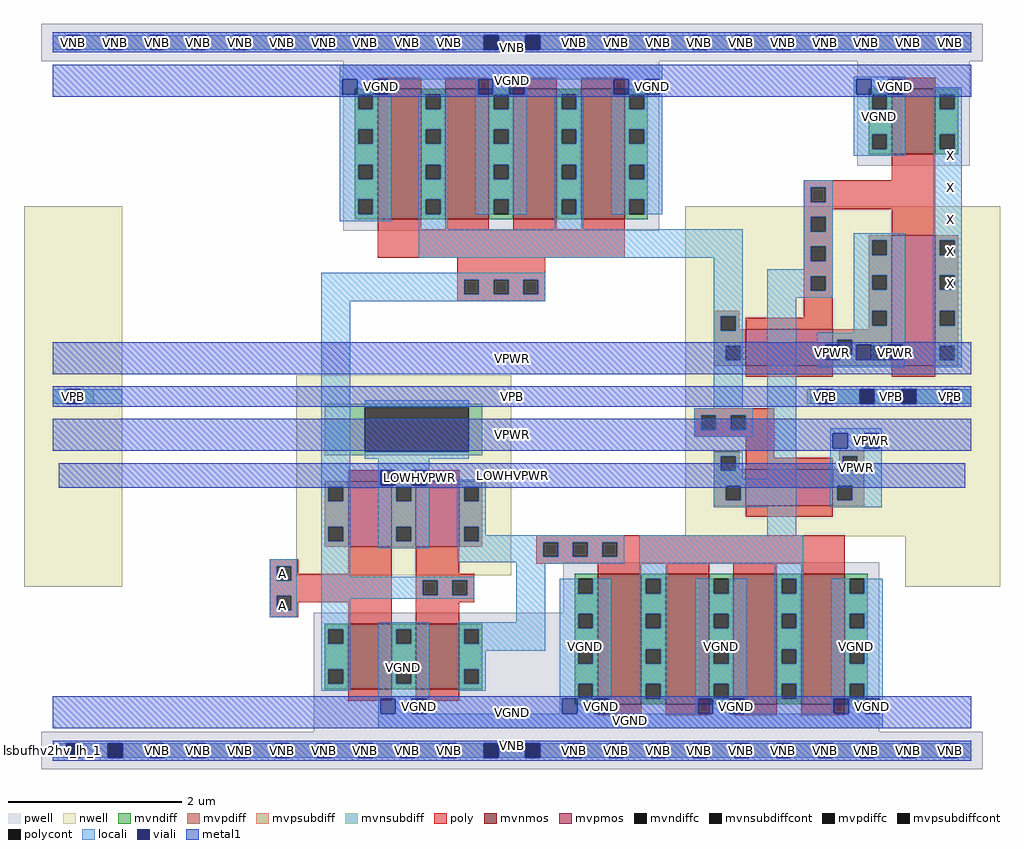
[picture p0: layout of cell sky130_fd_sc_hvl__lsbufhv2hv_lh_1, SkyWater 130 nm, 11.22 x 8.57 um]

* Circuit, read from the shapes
.subckt sky130_fd_sc_hvl__lsbufhv2hv_lh_1 A LOWHVPWR VGND VNB VPB VPWR X
XM1 VGND A n1 VNB sky130_fd_pr__nfet_g5v0d10v5 w=0.75 l=0.5
XM2 n2 n1 VGND VNB sky130_fd_pr__nfet_g5v0d10v5 w=1.5 l=0.5 m=4
XM3 n3 n1 VGND VNB sky130_fd_pr__nfet_g5v0d10v5 w=0.75 l=0.5
XM4 n4 n3 VGND VNB sky130_fd_pr__nfet_g5v0d10v5 w=1.5 l=0.5 m=4
XM5 X n4 VGND VNB sky130_fd_pr__nfet_g5v0d10v5 w=0.75 l=0.5
XM6 LOWHVPWR A n1 LOWHVPWR sky130_fd_pr__pfet_g5v0d10v5 w=0.75 l=0.5
XM7 n3 n1 LOWHVPWR LOWHVPWR sky130_fd_pr__pfet_g5v0d10v5 w=0.75 l=0.5
XM8 VPWR n2 n4 VPB sky130_fd_pr__pfet_g5v0d10v5 w=0.42 l=1
XM9 VPWR n4 n2 VPB sky130_fd_pr__pfet_g5v0d10v5 w=0.42 l=1
XM10 X n4 VPWR VPB sky130_fd_pr__pfet_g5v0d10v5 w=1.5 l=0.5
.ends

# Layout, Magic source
magic
tech sky130B
magscale 1 2
<< nwell >>
rect -66 377 160 1251
rect 560 403 1054 863
rect 1454 493 2178 1251
rect 1960 377 2178 493
<< pwell >>
rect -26 1585 2138 1671
rect 668 1195 1394 1585
rect 1850 1345 2108 1585
rect 1174 317 1900 433
rect 600 43 1900 317
rect -26 -43 2138 43
<< mvnmos >>
rect 747 1221 847 1521
rect 903 1221 1003 1521
rect 1059 1221 1159 1521
rect 1215 1221 1315 1521
rect 1929 1371 2029 1521
rect 679 141 779 291
rect 835 141 935 291
rect 1253 107 1353 407
rect 1409 107 1509 407
rect 1565 107 1665 407
rect 1721 107 1821 407
<< mvpmos >>
rect 1593 885 1793 969
rect 1929 885 2029 1185
rect 679 469 779 619
rect 835 469 935 619
rect 1593 563 1793 647
<< mvndiff >>
rect 694 1509 747 1521
rect 694 1475 702 1509
rect 736 1475 747 1509
rect 694 1429 747 1475
rect 694 1395 702 1429
rect 736 1395 747 1429
rect 694 1347 747 1395
rect 694 1313 702 1347
rect 736 1313 747 1347
rect 694 1267 747 1313
rect 694 1233 702 1267
rect 736 1233 747 1267
rect 694 1221 747 1233
rect 847 1509 903 1521
rect 847 1475 858 1509
rect 892 1475 903 1509
rect 847 1429 903 1475
rect 847 1395 858 1429
rect 892 1395 903 1429
rect 847 1347 903 1395
rect 847 1313 858 1347
rect 892 1313 903 1347
rect 847 1267 903 1313
rect 847 1233 858 1267
rect 892 1233 903 1267
rect 847 1221 903 1233
rect 1003 1509 1059 1521
rect 1003 1475 1014 1509
rect 1048 1475 1059 1509
rect 1003 1429 1059 1475
rect 1003 1395 1014 1429
rect 1048 1395 1059 1429
rect 1003 1347 1059 1395
rect 1003 1313 1014 1347
rect 1048 1313 1059 1347
rect 1003 1267 1059 1313
rect 1003 1233 1014 1267
rect 1048 1233 1059 1267
rect 1003 1221 1059 1233
rect 1159 1509 1215 1521
rect 1159 1475 1170 1509
rect 1204 1475 1215 1509
rect 1159 1429 1215 1475
rect 1159 1395 1170 1429
rect 1204 1395 1215 1429
rect 1159 1347 1215 1395
rect 1159 1313 1170 1347
rect 1204 1313 1215 1347
rect 1159 1267 1215 1313
rect 1159 1233 1170 1267
rect 1204 1233 1215 1267
rect 1159 1221 1215 1233
rect 1315 1509 1368 1521
rect 1315 1475 1326 1509
rect 1360 1475 1368 1509
rect 1315 1429 1368 1475
rect 1315 1395 1326 1429
rect 1360 1395 1368 1429
rect 1315 1347 1368 1395
rect 1876 1509 1929 1521
rect 1876 1475 1884 1509
rect 1918 1475 1929 1509
rect 1876 1417 1929 1475
rect 1876 1383 1884 1417
rect 1918 1383 1929 1417
rect 1876 1371 1929 1383
rect 2029 1509 2082 1521
rect 2029 1475 2040 1509
rect 2074 1475 2082 1509
rect 2029 1417 2082 1475
rect 2029 1383 2040 1417
rect 2074 1383 2082 1417
rect 2029 1371 2082 1383
rect 1315 1313 1326 1347
rect 1360 1313 1368 1347
rect 1315 1267 1368 1313
rect 1315 1233 1326 1267
rect 1360 1233 1368 1267
rect 1315 1221 1368 1233
rect 1200 395 1253 407
rect 1200 361 1208 395
rect 1242 361 1253 395
rect 1200 315 1253 361
rect 626 279 679 291
rect 626 245 634 279
rect 668 245 679 279
rect 626 187 679 245
rect 626 153 634 187
rect 668 153 679 187
rect 626 141 679 153
rect 779 279 835 291
rect 779 245 790 279
rect 824 245 835 279
rect 779 187 835 245
rect 779 153 790 187
rect 824 153 835 187
rect 779 141 835 153
rect 935 279 988 291
rect 935 245 946 279
rect 980 245 988 279
rect 935 187 988 245
rect 935 153 946 187
rect 980 153 988 187
rect 935 141 988 153
rect 1200 281 1208 315
rect 1242 281 1253 315
rect 1200 233 1253 281
rect 1200 199 1208 233
rect 1242 199 1253 233
rect 1200 153 1253 199
rect 1200 119 1208 153
rect 1242 119 1253 153
rect 1200 107 1253 119
rect 1353 395 1409 407
rect 1353 361 1364 395
rect 1398 361 1409 395
rect 1353 315 1409 361
rect 1353 281 1364 315
rect 1398 281 1409 315
rect 1353 233 1409 281
rect 1353 199 1364 233
rect 1398 199 1409 233
rect 1353 153 1409 199
rect 1353 119 1364 153
rect 1398 119 1409 153
rect 1353 107 1409 119
rect 1509 395 1565 407
rect 1509 361 1520 395
rect 1554 361 1565 395
rect 1509 315 1565 361
rect 1509 281 1520 315
rect 1554 281 1565 315
rect 1509 233 1565 281
rect 1509 199 1520 233
rect 1554 199 1565 233
rect 1509 153 1565 199
rect 1509 119 1520 153
rect 1554 119 1565 153
rect 1509 107 1565 119
rect 1665 395 1721 407
rect 1665 361 1676 395
rect 1710 361 1721 395
rect 1665 315 1721 361
rect 1665 281 1676 315
rect 1710 281 1721 315
rect 1665 233 1721 281
rect 1665 199 1676 233
rect 1710 199 1721 233
rect 1665 153 1721 199
rect 1665 119 1676 153
rect 1710 119 1721 153
rect 1665 107 1721 119
rect 1821 395 1874 407
rect 1821 361 1832 395
rect 1866 361 1874 395
rect 1821 315 1874 361
rect 1821 281 1832 315
rect 1866 281 1874 315
rect 1821 233 1874 281
rect 1821 199 1832 233
rect 1866 199 1874 233
rect 1821 153 1874 199
rect 1821 119 1832 153
rect 1866 119 1874 153
rect 1821 107 1874 119
<< mvpdiff >>
rect 1520 999 1578 1011
rect 1520 965 1536 999
rect 1570 969 1578 999
rect 1876 1173 1929 1185
rect 1876 1139 1884 1173
rect 1918 1139 1929 1173
rect 1876 1093 1929 1139
rect 1876 1059 1884 1093
rect 1918 1059 1929 1093
rect 1876 1011 1929 1059
rect 1876 977 1884 1011
rect 1918 977 1929 1011
rect 1876 969 1929 977
rect 1570 965 1593 969
rect 1520 931 1593 965
rect 1520 897 1548 931
rect 1582 897 1593 931
rect 1520 885 1593 897
rect 1793 944 1929 969
rect 1793 910 1804 944
rect 1838 931 1929 944
rect 1838 910 1884 931
rect 1793 897 1884 910
rect 1918 897 1929 931
rect 1793 885 1929 897
rect 2029 1173 2082 1185
rect 2029 1139 2040 1173
rect 2074 1139 2082 1173
rect 2029 1093 2082 1139
rect 2029 1059 2040 1093
rect 2074 1059 2082 1093
rect 2029 1011 2082 1059
rect 2029 977 2040 1011
rect 2074 977 2082 1011
rect 2029 931 2082 977
rect 2029 897 2040 931
rect 2074 897 2082 931
rect 2029 885 2082 897
rect 1520 677 1578 689
rect 1520 643 1536 677
rect 1570 647 1578 677
rect 1808 677 1866 689
rect 1808 647 1816 677
rect 1570 643 1593 647
rect 626 607 679 619
rect 626 573 634 607
rect 668 573 679 607
rect 626 515 679 573
rect 626 481 634 515
rect 668 481 679 515
rect 626 469 679 481
rect 779 607 835 619
rect 779 573 790 607
rect 824 573 835 607
rect 779 515 835 573
rect 779 481 790 515
rect 824 481 835 515
rect 779 469 835 481
rect 935 607 988 619
rect 935 573 946 607
rect 980 573 988 607
rect 935 515 988 573
rect 1520 609 1593 643
rect 1520 575 1548 609
rect 1582 575 1593 609
rect 1520 563 1593 575
rect 1793 643 1816 647
rect 1850 643 1866 677
rect 1793 609 1866 643
rect 1793 575 1804 609
rect 1838 575 1866 609
rect 1793 563 1866 575
rect 935 481 946 515
rect 980 481 988 515
rect 935 469 988 481
<< mvndiffc >>
rect 702 1475 736 1509
rect 702 1395 736 1429
rect 702 1313 736 1347
rect 702 1233 736 1267
rect 858 1475 892 1509
rect 858 1395 892 1429
rect 858 1313 892 1347
rect 858 1233 892 1267
rect 1014 1475 1048 1509
rect 1014 1395 1048 1429
rect 1014 1313 1048 1347
rect 1014 1233 1048 1267
rect 1170 1475 1204 1509
rect 1170 1395 1204 1429
rect 1170 1313 1204 1347
rect 1170 1233 1204 1267
rect 1326 1475 1360 1509
rect 1326 1395 1360 1429
rect 1884 1475 1918 1509
rect 1884 1383 1918 1417
rect 2040 1475 2074 1509
rect 2040 1383 2074 1417
rect 1326 1313 1360 1347
rect 1326 1233 1360 1267
rect 1208 361 1242 395
rect 634 245 668 279
rect 634 153 668 187
rect 790 245 824 279
rect 790 153 824 187
rect 946 245 980 279
rect 946 153 980 187
rect 1208 281 1242 315
rect 1208 199 1242 233
rect 1208 119 1242 153
rect 1364 361 1398 395
rect 1364 281 1398 315
rect 1364 199 1398 233
rect 1364 119 1398 153
rect 1520 361 1554 395
rect 1520 281 1554 315
rect 1520 199 1554 233
rect 1520 119 1554 153
rect 1676 361 1710 395
rect 1676 281 1710 315
rect 1676 199 1710 233
rect 1676 119 1710 153
rect 1832 361 1866 395
rect 1832 281 1866 315
rect 1832 199 1866 233
rect 1832 119 1866 153
<< mvpdiffc >>
rect 1536 965 1570 999
rect 1884 1139 1918 1173
rect 1884 1059 1918 1093
rect 1884 977 1918 1011
rect 1548 897 1582 931
rect 1804 910 1838 944
rect 1884 897 1918 931
rect 2040 1139 2074 1173
rect 2040 1059 2074 1093
rect 2040 977 2074 1011
rect 2040 897 2074 931
rect 1536 643 1570 677
rect 634 573 668 607
rect 634 481 668 515
rect 790 573 824 607
rect 790 481 824 515
rect 946 573 980 607
rect 1548 575 1582 609
rect 1816 643 1850 677
rect 1804 575 1838 609
rect 946 481 980 515
<< mvpsubdiff >>
rect 0 1611 31 1645
rect 65 1611 127 1645
rect 161 1611 223 1645
rect 257 1611 319 1645
rect 353 1611 415 1645
rect 449 1611 511 1645
rect 545 1611 607 1645
rect 641 1611 703 1645
rect 737 1611 799 1645
rect 833 1611 895 1645
rect 929 1611 991 1645
rect 1025 1611 1087 1645
rect 1121 1611 1183 1645
rect 1217 1611 1279 1645
rect 1313 1611 1375 1645
rect 1409 1611 1471 1645
rect 1505 1611 1567 1645
rect 1601 1611 1663 1645
rect 1697 1611 1759 1645
rect 1793 1611 1855 1645
rect 1889 1611 1951 1645
rect 1985 1611 2047 1645
rect 2081 1611 2112 1645
rect 0 -17 31 17
rect 65 -17 127 17
rect 161 -17 223 17
rect 257 -17 319 17
rect 353 -17 415 17
rect 449 -17 511 17
rect 545 -17 607 17
rect 641 -17 703 17
rect 737 -17 799 17
rect 833 -17 895 17
rect 929 -17 991 17
rect 1025 -17 1087 17
rect 1121 -17 1183 17
rect 1217 -17 1279 17
rect 1313 -17 1375 17
rect 1409 -17 1471 17
rect 1505 -17 1567 17
rect 1601 -17 1663 17
rect 1697 -17 1759 17
rect 1793 -17 1855 17
rect 1889 -17 1951 17
rect 1985 -17 2047 17
rect 2081 -17 2112 17
<< mvnsubdiff >>
rect 0 797 31 831
rect 65 797 94 831
rect 1735 797 1759 831
rect 1793 797 1855 831
rect 1889 797 1951 831
rect 1985 797 2047 831
rect 2081 797 2112 831
rect 626 789 988 797
rect 626 687 718 789
rect 956 687 988 789
rect 626 679 988 687
<< mvpsubdiffcont >>
rect 31 1611 65 1645
rect 127 1611 161 1645
rect 223 1611 257 1645
rect 319 1611 353 1645
rect 415 1611 449 1645
rect 511 1611 545 1645
rect 607 1611 641 1645
rect 703 1611 737 1645
rect 799 1611 833 1645
rect 895 1611 929 1645
rect 991 1611 1025 1645
rect 1087 1611 1121 1645
rect 1183 1611 1217 1645
rect 1279 1611 1313 1645
rect 1375 1611 1409 1645
rect 1471 1611 1505 1645
rect 1567 1611 1601 1645
rect 1663 1611 1697 1645
rect 1759 1611 1793 1645
rect 1855 1611 1889 1645
rect 1951 1611 1985 1645
rect 2047 1611 2081 1645
rect 31 -17 65 17
rect 127 -17 161 17
rect 223 -17 257 17
rect 319 -17 353 17
rect 415 -17 449 17
rect 511 -17 545 17
rect 607 -17 641 17
rect 703 -17 737 17
rect 799 -17 833 17
rect 895 -17 929 17
rect 991 -17 1025 17
rect 1087 -17 1121 17
rect 1183 -17 1217 17
rect 1279 -17 1313 17
rect 1375 -17 1409 17
rect 1471 -17 1505 17
rect 1567 -17 1601 17
rect 1663 -17 1697 17
rect 1759 -17 1793 17
rect 1855 -17 1889 17
rect 1951 -17 1985 17
rect 2047 -17 2081 17
<< mvnsubdiffcont >>
rect 31 797 65 831
rect 1759 797 1793 831
rect 1855 797 1889 831
rect 1951 797 1985 831
rect 2047 797 2081 831
rect 718 687 956 789
<< poly >>
rect 747 1521 847 1547
rect 903 1521 1003 1547
rect 1059 1521 1159 1547
rect 1215 1521 1315 1547
rect 1929 1521 2029 1547
rect 1929 1311 2029 1371
rect 1727 1295 2029 1311
rect 1727 1261 1743 1295
rect 1777 1261 2029 1295
rect 1727 1245 2029 1261
rect 1727 1227 1793 1245
rect 747 1199 847 1221
rect 903 1199 1003 1221
rect 1059 1199 1159 1221
rect 1215 1199 1315 1221
rect 747 1133 1315 1199
rect 1727 1193 1743 1227
rect 1777 1193 1793 1227
rect 1727 1159 1793 1193
rect 1929 1185 2029 1245
rect 930 1083 1132 1133
rect 930 1049 946 1083
rect 980 1049 1014 1083
rect 1048 1049 1082 1083
rect 1116 1049 1132 1083
rect 930 1033 1132 1049
rect 1727 1125 1743 1159
rect 1777 1125 1793 1159
rect 1727 1091 1793 1125
rect 1727 1057 1743 1091
rect 1777 1057 1793 1091
rect 1727 995 1793 1057
rect 1593 969 1793 995
rect 1593 859 1793 885
rect 1929 859 2029 885
rect 1475 771 1659 787
rect 1475 737 1491 771
rect 1525 737 1559 771
rect 1593 737 1659 771
rect 1475 721 1659 737
rect 679 619 779 645
rect 835 619 935 645
rect 1593 673 1659 721
rect 1593 647 1793 673
rect 1593 537 1793 563
rect 1112 479 1821 495
rect 499 424 565 440
rect 499 390 515 424
rect 549 407 565 424
rect 679 407 779 469
rect 549 390 779 407
rect 499 356 779 390
rect 499 322 515 356
rect 549 341 779 356
rect 549 322 565 341
rect 499 306 565 322
rect 679 291 779 341
rect 835 407 935 469
rect 1112 445 1128 479
rect 1162 445 1196 479
rect 1230 445 1264 479
rect 1298 445 1821 479
rect 1112 429 1821 445
rect 1253 407 1353 429
rect 1409 407 1509 429
rect 1565 407 1665 429
rect 1721 407 1821 429
rect 835 391 969 407
rect 835 357 851 391
rect 885 357 919 391
rect 953 357 969 391
rect 835 341 969 357
rect 835 291 935 341
rect 679 115 779 141
rect 835 115 935 141
rect 1253 81 1353 107
rect 1409 81 1509 107
rect 1565 81 1665 107
rect 1721 81 1821 107
<< polycont >>
rect 1743 1261 1777 1295
rect 1743 1193 1777 1227
rect 946 1049 980 1083
rect 1014 1049 1048 1083
rect 1082 1049 1116 1083
rect 1743 1125 1777 1159
rect 1743 1057 1777 1091
rect 1491 737 1525 771
rect 1559 737 1593 771
rect 515 390 549 424
rect 515 322 549 356
rect 1128 445 1162 479
rect 1196 445 1230 479
rect 1264 445 1298 479
rect 851 357 885 391
rect 919 357 953 391
<< locali >>
rect 0 1611 31 1645
rect 65 1611 127 1645
rect 161 1611 223 1645
rect 257 1611 319 1645
rect 353 1611 415 1645
rect 449 1611 511 1645
rect 545 1611 607 1645
rect 641 1611 703 1645
rect 737 1611 799 1645
rect 833 1611 895 1645
rect 929 1611 991 1645
rect 1025 1611 1087 1645
rect 1121 1611 1183 1645
rect 1217 1611 1279 1645
rect 1313 1611 1375 1645
rect 1409 1611 1471 1645
rect 1505 1611 1567 1645
rect 1601 1611 1663 1645
rect 1697 1611 1759 1645
rect 1793 1611 1855 1645
rect 1889 1611 1951 1645
rect 1985 1611 2047 1645
rect 2081 1611 2112 1645
rect 660 1543 1402 1577
rect 660 1509 666 1543
rect 700 1509 738 1543
rect 772 1509 778 1543
rect 972 1509 978 1543
rect 1012 1509 1050 1543
rect 1084 1509 1090 1543
rect 1284 1509 1290 1543
rect 1324 1509 1362 1543
rect 1396 1509 1402 1543
rect 660 1475 702 1509
rect 736 1475 778 1509
rect 660 1429 778 1475
rect 660 1395 702 1429
rect 736 1395 778 1429
rect 660 1347 778 1395
rect 660 1313 702 1347
rect 736 1313 778 1347
rect 660 1267 778 1313
rect 660 1233 702 1267
rect 736 1233 778 1267
rect 660 1217 778 1233
rect 842 1475 858 1509
rect 892 1475 908 1509
rect 842 1429 908 1475
rect 842 1395 858 1429
rect 892 1395 908 1429
rect 842 1347 908 1395
rect 842 1313 858 1347
rect 892 1313 908 1347
rect 842 1267 908 1313
rect 842 1233 858 1267
rect 892 1233 908 1267
rect 972 1475 1014 1509
rect 1048 1475 1090 1509
rect 972 1429 1090 1475
rect 972 1395 1014 1429
rect 1048 1395 1090 1429
rect 972 1347 1090 1395
rect 972 1313 1014 1347
rect 1048 1313 1090 1347
rect 972 1267 1090 1313
rect 972 1233 1014 1267
rect 1048 1233 1090 1267
rect 1154 1475 1170 1509
rect 1204 1475 1220 1509
rect 1154 1429 1220 1475
rect 1154 1395 1170 1429
rect 1204 1395 1220 1429
rect 1154 1347 1220 1395
rect 1154 1313 1170 1347
rect 1204 1313 1220 1347
rect 1154 1267 1220 1313
rect 1154 1233 1170 1267
rect 1204 1233 1220 1267
rect 1284 1475 1326 1509
rect 1360 1475 1402 1509
rect 1284 1429 1402 1475
rect 1284 1395 1326 1429
rect 1360 1395 1402 1429
rect 1284 1347 1402 1395
rect 1842 1543 1960 1549
rect 1842 1509 1848 1543
rect 1882 1509 1920 1543
rect 1954 1509 1960 1543
rect 1842 1475 1884 1509
rect 1918 1475 1960 1509
rect 1842 1417 1960 1475
rect 1842 1383 1884 1417
rect 1918 1383 1960 1417
rect 1842 1367 1960 1383
rect 2024 1509 2090 1525
rect 2024 1475 2040 1509
rect 2074 1475 2090 1509
rect 2024 1417 2090 1475
rect 2024 1383 2040 1417
rect 2074 1383 2090 1417
rect 1284 1313 1326 1347
rect 1360 1313 1402 1347
rect 1284 1267 1402 1313
rect 1284 1233 1326 1267
rect 1360 1233 1402 1267
rect 1727 1295 1793 1311
rect 1727 1261 1743 1295
rect 1777 1261 1793 1295
rect 842 1199 908 1233
rect 1154 1199 1220 1233
rect 1727 1227 1793 1261
rect 842 1133 1586 1199
rect 618 1083 1132 1099
rect 618 1049 946 1083
rect 980 1049 1014 1083
rect 1048 1049 1082 1083
rect 1116 1049 1132 1083
rect 618 1033 1132 1049
rect 0 797 31 831
rect 65 797 160 831
rect 618 607 684 1033
rect 1520 999 1586 1133
rect 1727 1193 1743 1227
rect 1777 1193 1793 1227
rect 1727 1159 1793 1193
rect 1727 1125 1743 1159
rect 1777 1125 1793 1159
rect 1727 1107 1793 1125
rect 1520 965 1536 999
rect 1570 965 1586 999
rect 1520 931 1586 965
rect 1520 897 1548 931
rect 1582 897 1586 931
rect 718 789 956 805
rect 1520 787 1586 897
rect 1643 1091 1793 1107
rect 1643 1057 1743 1091
rect 1777 1057 1793 1091
rect 1643 1041 1793 1057
rect 1842 1173 1960 1189
rect 1842 1139 1884 1173
rect 1918 1139 1960 1173
rect 1842 1093 1960 1139
rect 1842 1059 1884 1093
rect 1918 1059 1960 1093
rect 1475 771 1609 787
rect 1475 737 1491 771
rect 1525 737 1559 771
rect 1593 737 1609 771
rect 1475 721 1609 737
rect 718 671 956 687
rect 1520 677 1586 687
rect 618 573 634 607
rect 668 573 684 607
rect 618 515 684 573
rect 618 481 634 515
rect 668 481 684 515
rect 499 424 561 440
rect 499 390 515 424
rect 549 390 561 424
rect 499 356 561 390
rect 499 322 515 356
rect 549 322 561 356
rect 499 306 561 322
rect 618 399 684 481
rect 748 644 866 671
rect 748 610 754 644
rect 788 610 826 644
rect 860 610 866 644
rect 1520 643 1536 677
rect 1570 643 1586 677
rect 1520 625 1586 643
rect 1643 625 1709 1041
rect 1842 1011 1960 1059
rect 1842 977 1884 1011
rect 1918 977 1960 1011
rect 1842 960 1960 977
rect 1758 944 1960 960
rect 1758 933 1804 944
rect 1838 933 1960 944
rect 1758 899 1776 933
rect 1838 910 1848 933
rect 1810 899 1848 910
rect 1882 931 1920 933
rect 1882 899 1884 931
rect 1758 897 1884 899
rect 1918 899 1920 931
rect 1954 899 1960 933
rect 1918 897 1960 899
rect 1758 881 1960 897
rect 2024 1173 2090 1383
rect 2024 1139 2040 1173
rect 2074 1139 2090 1173
rect 2024 1093 2090 1139
rect 2024 1059 2040 1093
rect 2074 1059 2090 1093
rect 2024 1011 2090 1059
rect 2024 977 2040 1011
rect 2074 977 2090 1011
rect 2024 931 2090 977
rect 2024 897 2040 931
rect 2074 897 2090 931
rect 2024 881 2090 897
rect 1743 797 1759 831
rect 1793 797 1855 831
rect 1889 797 1951 831
rect 1985 797 2047 831
rect 2081 797 2112 831
rect 748 607 866 610
rect 748 573 790 607
rect 824 573 866 607
rect 748 515 866 573
rect 748 481 790 515
rect 824 481 866 515
rect 748 465 866 481
rect 930 607 996 623
rect 930 573 946 607
rect 980 573 996 607
rect 930 515 996 573
rect 1520 609 1709 625
rect 1520 575 1548 609
rect 1582 575 1709 609
rect 1520 559 1709 575
rect 1788 729 1906 741
rect 1788 695 1794 729
rect 1828 695 1866 729
rect 1900 695 1906 729
rect 1788 677 1906 695
rect 1788 643 1816 677
rect 1850 643 1906 677
rect 1788 609 1906 643
rect 1788 575 1804 609
rect 1838 575 1906 609
rect 1788 559 1906 575
rect 930 481 946 515
rect 980 495 996 515
rect 1643 495 1709 559
rect 980 481 1314 495
rect 930 479 1314 481
rect 930 445 1128 479
rect 1162 445 1196 479
rect 1230 445 1264 479
rect 1298 445 1314 479
rect 930 433 1314 445
rect 1066 429 1314 433
rect 1348 429 1726 495
rect 618 391 969 399
rect 618 357 851 391
rect 885 357 919 391
rect 953 357 969 391
rect 618 349 969 357
rect 618 279 684 349
rect 1066 295 1132 429
rect 1348 395 1414 429
rect 1660 395 1726 429
rect 618 245 634 279
rect 668 245 684 279
rect 618 187 684 245
rect 618 153 634 187
rect 668 153 684 187
rect 618 137 684 153
rect 748 279 866 295
rect 748 245 790 279
rect 824 245 866 279
rect 748 187 866 245
rect 748 153 790 187
rect 824 153 866 187
rect 748 119 866 153
rect 930 279 1132 295
rect 930 245 946 279
rect 980 245 1132 279
rect 930 229 1132 245
rect 1166 361 1208 395
rect 1242 361 1284 395
rect 1166 315 1284 361
rect 1166 281 1208 315
rect 1242 281 1284 315
rect 1166 233 1284 281
rect 930 187 996 229
rect 930 153 946 187
rect 980 153 996 187
rect 930 137 996 153
rect 1166 199 1208 233
rect 1242 199 1284 233
rect 1166 153 1284 199
rect 748 85 754 119
rect 788 85 826 119
rect 860 85 866 119
rect 1166 119 1208 153
rect 1242 119 1284 153
rect 1348 361 1364 395
rect 1398 361 1414 395
rect 1348 315 1414 361
rect 1348 281 1364 315
rect 1398 281 1414 315
rect 1348 233 1414 281
rect 1348 199 1364 233
rect 1398 199 1414 233
rect 1348 153 1414 199
rect 1348 119 1364 153
rect 1398 119 1414 153
rect 1478 361 1520 395
rect 1554 361 1596 395
rect 1478 315 1596 361
rect 1478 281 1520 315
rect 1554 281 1596 315
rect 1478 233 1596 281
rect 1478 199 1520 233
rect 1554 199 1596 233
rect 1478 153 1596 199
rect 1478 119 1520 153
rect 1554 119 1596 153
rect 1660 361 1676 395
rect 1710 361 1726 395
rect 1660 315 1726 361
rect 1660 281 1676 315
rect 1710 281 1726 315
rect 1660 233 1726 281
rect 1660 199 1676 233
rect 1710 199 1726 233
rect 1660 153 1726 199
rect 1660 119 1676 153
rect 1710 119 1726 153
rect 1790 361 1832 395
rect 1866 361 1908 395
rect 1790 315 1908 361
rect 1790 281 1832 315
rect 1866 281 1908 315
rect 1790 233 1908 281
rect 1790 199 1832 233
rect 1866 199 1908 233
rect 1790 153 1908 199
rect 1790 119 1832 153
rect 1866 119 1908 153
rect 1166 85 1172 119
rect 1206 85 1244 119
rect 1278 85 1284 119
rect 1478 85 1484 119
rect 1518 85 1556 119
rect 1590 85 1596 119
rect 1790 85 1796 119
rect 1830 85 1868 119
rect 1902 85 1908 119
rect 748 51 1908 85
rect 0 -17 31 17
rect 65 -17 127 17
rect 161 -17 223 17
rect 257 -17 319 17
rect 353 -17 415 17
rect 449 -17 511 17
rect 545 -17 607 17
rect 641 -17 703 17
rect 737 -17 799 17
rect 833 -17 895 17
rect 929 -17 991 17
rect 1025 -17 1087 17
rect 1121 -17 1183 17
rect 1217 -17 1279 17
rect 1313 -17 1375 17
rect 1409 -17 1471 17
rect 1505 -17 1567 17
rect 1601 -17 1663 17
rect 1697 -17 1759 17
rect 1793 -17 1855 17
rect 1889 -17 1951 17
rect 1985 -17 2047 17
rect 2081 -17 2112 17
<< viali >>
rect 31 1611 65 1645
rect 127 1611 161 1645
rect 223 1611 257 1645
rect 319 1611 353 1645
rect 415 1611 449 1645
rect 511 1611 545 1645
rect 607 1611 641 1645
rect 703 1611 737 1645
rect 799 1611 833 1645
rect 895 1611 929 1645
rect 991 1611 1025 1645
rect 1087 1611 1121 1645
rect 1183 1611 1217 1645
rect 1279 1611 1313 1645
rect 1375 1611 1409 1645
rect 1471 1611 1505 1645
rect 1567 1611 1601 1645
rect 1663 1611 1697 1645
rect 1759 1611 1793 1645
rect 1855 1611 1889 1645
rect 1951 1611 1985 1645
rect 2047 1611 2081 1645
rect 666 1509 700 1543
rect 738 1509 772 1543
rect 978 1509 1012 1543
rect 1050 1509 1084 1543
rect 1290 1509 1324 1543
rect 1362 1509 1396 1543
rect 1848 1509 1882 1543
rect 1920 1509 1954 1543
rect 31 797 65 831
rect 754 610 788 644
rect 826 610 860 644
rect 1776 910 1804 933
rect 1804 910 1810 933
rect 1776 899 1810 910
rect 1848 899 1882 933
rect 1920 899 1954 933
rect 1759 797 1793 831
rect 1855 797 1889 831
rect 1951 797 1985 831
rect 2047 797 2081 831
rect 1794 695 1828 729
rect 1866 695 1900 729
rect 754 85 788 119
rect 826 85 860 119
rect 1172 85 1206 119
rect 1244 85 1278 119
rect 1484 85 1518 119
rect 1556 85 1590 119
rect 1796 85 1830 119
rect 1868 85 1902 119
rect 31 -17 65 17
rect 127 -17 161 17
rect 223 -17 257 17
rect 319 -17 353 17
rect 415 -17 449 17
rect 511 -17 545 17
rect 607 -17 641 17
rect 703 -17 737 17
rect 799 -17 833 17
rect 895 -17 929 17
rect 991 -17 1025 17
rect 1087 -17 1121 17
rect 1183 -17 1217 17
rect 1279 -17 1313 17
rect 1375 -17 1409 17
rect 1471 -17 1505 17
rect 1567 -17 1601 17
rect 1663 -17 1697 17
rect 1759 -17 1793 17
rect 1855 -17 1889 17
rect 1951 -17 1985 17
rect 2047 -17 2081 17
<< metal1 >>
rect 0 1645 2112 1651
rect 0 1611 31 1645
rect 65 1611 127 1645
rect 161 1611 223 1645
rect 257 1611 319 1645
rect 353 1611 415 1645
rect 449 1611 511 1645
rect 545 1611 607 1645
rect 641 1611 703 1645
rect 737 1611 799 1645
rect 833 1611 895 1645
rect 929 1611 991 1645
rect 1025 1611 1087 1645
rect 1121 1611 1183 1645
rect 1217 1611 1279 1645
rect 1313 1611 1375 1645
rect 1409 1611 1471 1645
rect 1505 1611 1567 1645
rect 1601 1611 1663 1645
rect 1697 1611 1759 1645
rect 1793 1611 1855 1645
rect 1889 1611 1951 1645
rect 1985 1611 2047 1645
rect 2081 1611 2112 1645
rect 0 1605 2112 1611
rect 0 1543 2112 1577
rect 0 1509 666 1543
rect 700 1509 738 1543
rect 772 1509 978 1543
rect 1012 1509 1050 1543
rect 1084 1509 1290 1543
rect 1324 1509 1362 1543
rect 1396 1509 1848 1543
rect 1882 1509 1920 1543
rect 1954 1509 2112 1543
rect 0 1503 2112 1509
rect 0 933 2112 939
rect 0 899 1776 933
rect 1810 899 1848 933
rect 1882 899 1920 933
rect 1954 899 2112 933
rect 0 865 2112 899
rect 0 831 2112 837
rect 0 797 31 831
rect 65 797 1759 831
rect 1793 797 1855 831
rect 1889 797 1951 831
rect 1985 797 2047 831
rect 2081 797 2112 831
rect 0 791 2112 797
rect 0 729 2112 763
rect 0 695 1794 729
rect 1828 695 1866 729
rect 1900 695 2112 729
rect 0 689 2112 695
rect 14 644 2098 661
rect 14 610 754 644
rect 788 610 826 644
rect 860 610 2098 644
rect 14 604 2098 610
rect 0 119 2112 125
rect 0 85 754 119
rect 788 85 826 119
rect 860 85 1172 119
rect 1206 85 1244 119
rect 1278 85 1484 119
rect 1518 85 1556 119
rect 1590 85 1796 119
rect 1830 85 1868 119
rect 1902 85 2112 119
rect 0 51 2112 85
rect 0 17 2112 23
rect 0 -17 31 17
rect 65 -17 127 17
rect 161 -17 223 17
rect 257 -17 319 17
rect 353 -17 415 17
rect 449 -17 511 17
rect 545 -17 607 17
rect 641 -17 703 17
rect 737 -17 799 17
rect 833 -17 895 17
rect 929 -17 991 17
rect 1025 -17 1087 17
rect 1121 -17 1183 17
rect 1217 -17 1279 17
rect 1313 -17 1375 17
rect 1409 -17 1471 17
rect 1505 -17 1567 17
rect 1601 -17 1663 17
rect 1697 -17 1759 17
rect 1793 -17 1855 17
rect 1889 -17 1951 17
rect 1985 -17 2047 17
rect 2081 -17 2112 17
rect 0 -23 2112 -17
<< labels >>
rlabel comment s 0 0 0 0 4 lsbufhv2hv_lh_1
flabel metal1 s 0 865 2112 939 0 FreeSans 200 0 0 0 VPWR
port 6 nsew power bidirectional
flabel metal1 s 0 689 2112 763 0 FreeSans 200 0 0 0 VPWR
port 6 nsew power bidirectional
flabel metal1 s 0 1503 2112 1577 0 FreeSans 340 0 0 0 VGND
port 3 nsew ground bidirectional
flabel metal1 s 0 51 2112 125 0 FreeSans 340 0 0 0 VGND
port 3 nsew ground bidirectional
flabel metal1 s 0 0 2112 23 0 FreeSans 340 0 0 0 VNB
port 4 nsew ground bidirectional
flabel metal1 s 14 604 2098 661 0 FreeSans 340 0 0 0 LOWHVPWR
port 2 nsew power bidirectional
flabel metal1 s 0 791 2112 837 0 FreeSans 340 0 0 0 VPB
port 5 nsew power bidirectional
flabel metal1 s 0 1605 2112 1628 0 FreeSans 340 0 0 0 VNB
port 4 nsew ground bidirectional
flabel locali s 511 390 545 424 0 FreeSans 340 0 0 0 A
port 1 nsew signal input
flabel locali s 511 316 545 350 0 FreeSans 340 0 0 0 A
port 1 nsew signal input
flabel locali s 2047 1204 2081 1238 0 FreeSans 340 0 0 0 X
port 7 nsew signal output
flabel locali s 2047 1130 2081 1164 0 FreeSans 340 0 0 0 X
port 7 nsew signal output
flabel locali s 2047 1056 2081 1090 0 FreeSans 340 0 0 0 X
port 7 nsew signal output
flabel locali s 2047 1278 2081 1312 0 FreeSans 340 0 0 0 X
port 7 nsew signal output
flabel locali s 2047 1352 2081 1386 0 FreeSans 340 0 0 0 X
port 7 nsew signal output
rlabel viali s 826 610 860 644 1 LOWHVPWR
port 2 nsew power bidirectional
rlabel viali s 754 610 788 644 1 LOWHVPWR
port 2 nsew power bidirectional
rlabel metal1 s 14 604 2098 661 1 LOWHVPWR
port 2 nsew power bidirectional
rlabel locali s 1790 85 1908 395 1 VGND
port 3 nsew ground bidirectional
rlabel locali s 1478 85 1596 395 1 VGND
port 3 nsew ground bidirectional
rlabel locali s 1166 85 1284 395 1 VGND
port 3 nsew ground bidirectional
rlabel locali s 748 85 866 295 1 VGND
port 3 nsew ground bidirectional
rlabel locali s 748 51 1908 85 1 VGND
port 3 nsew ground bidirectional
rlabel locali s 1842 1367 1960 1549 1 VGND
port 3 nsew ground bidirectional
rlabel viali s 1920 1509 1954 1543 1 VGND
port 3 nsew ground bidirectional
rlabel viali s 1868 85 1902 119 1 VGND
port 3 nsew ground bidirectional
rlabel viali s 1848 1509 1882 1543 1 VGND
port 3 nsew ground bidirectional
rlabel viali s 1796 85 1830 119 1 VGND
port 3 nsew ground bidirectional
rlabel viali s 1556 85 1590 119 1 VGND
port 3 nsew ground bidirectional
rlabel viali s 1484 85 1518 119 1 VGND
port 3 nsew ground bidirectional
rlabel viali s 1362 1509 1396 1543 1 VGND
port 3 nsew ground bidirectional
rlabel viali s 1290 1509 1324 1543 1 VGND
port 3 nsew ground bidirectional
rlabel viali s 1244 85 1278 119 1 VGND
port 3 nsew ground bidirectional
rlabel viali s 1172 85 1206 119 1 VGND
port 3 nsew ground bidirectional
rlabel viali s 1050 1509 1084 1543 1 VGND
port 3 nsew ground bidirectional
rlabel viali s 978 1509 1012 1543 1 VGND
port 3 nsew ground bidirectional
rlabel viali s 826 85 860 119 1 VGND
port 3 nsew ground bidirectional
rlabel viali s 754 85 788 119 1 VGND
port 3 nsew ground bidirectional
rlabel viali s 738 1509 772 1543 1 VGND
port 3 nsew ground bidirectional
rlabel viali s 666 1509 700 1543 1 VGND
port 3 nsew ground bidirectional
rlabel metal1 s 0 51 2112 125 1 VGND
port 3 nsew ground bidirectional
rlabel metal1 s 0 1503 2112 1577 1 VGND
port 3 nsew ground bidirectional
rlabel locali s 0 1611 2112 1645 1 VNB
port 4 nsew ground bidirectional
rlabel viali s 2047 1611 2081 1645 1 VNB
port 4 nsew ground bidirectional
rlabel viali s 2047 -17 2081 17 1 VNB
port 4 nsew ground bidirectional
rlabel viali s 1951 1611 1985 1645 1 VNB
port 4 nsew ground bidirectional
rlabel viali s 1951 -17 1985 17 1 VNB
port 4 nsew ground bidirectional
rlabel viali s 1855 1611 1889 1645 1 VNB
port 4 nsew ground bidirectional
rlabel viali s 1855 -17 1889 17 1 VNB
port 4 nsew ground bidirectional
rlabel viali s 1759 1611 1793 1645 1 VNB
port 4 nsew ground bidirectional
rlabel viali s 1759 -17 1793 17 1 VNB
port 4 nsew ground bidirectional
rlabel viali s 1663 1611 1697 1645 1 VNB
port 4 nsew ground bidirectional
rlabel viali s 1663 -17 1697 17 1 VNB
port 4 nsew ground bidirectional
rlabel viali s 1567 1611 1601 1645 1 VNB
port 4 nsew ground bidirectional
rlabel viali s 1567 -17 1601 17 1 VNB
port 4 nsew ground bidirectional
rlabel viali s 1471 1611 1505 1645 1 VNB
port 4 nsew ground bidirectional
rlabel viali s 1471 -17 1505 17 1 VNB
port 4 nsew ground bidirectional
rlabel viali s 1375 1611 1409 1645 1 VNB
port 4 nsew ground bidirectional
rlabel viali s 1375 -17 1409 17 1 VNB
port 4 nsew ground bidirectional
rlabel viali s 1279 1611 1313 1645 1 VNB
port 4 nsew ground bidirectional
rlabel viali s 1279 -17 1313 17 1 VNB
port 4 nsew ground bidirectional
rlabel viali s 1183 1611 1217 1645 1 VNB
port 4 nsew ground bidirectional
rlabel viali s 1183 -17 1217 17 1 VNB
port 4 nsew ground bidirectional
rlabel viali s 1087 1611 1121 1645 1 VNB
port 4 nsew ground bidirectional
rlabel viali s 1087 -17 1121 17 1 VNB
port 4 nsew ground bidirectional
rlabel viali s 991 1611 1025 1645 1 VNB
port 4 nsew ground bidirectional
rlabel viali s 991 -17 1025 17 1 VNB
port 4 nsew ground bidirectional
rlabel viali s 895 1611 929 1645 1 VNB
port 4 nsew ground bidirectional
rlabel viali s 895 -17 929 17 1 VNB
port 4 nsew ground bidirectional
rlabel viali s 799 1611 833 1645 1 VNB
port 4 nsew ground bidirectional
rlabel viali s 799 -17 833 17 1 VNB
port 4 nsew ground bidirectional
rlabel viali s 703 1611 737 1645 1 VNB
port 4 nsew ground bidirectional
rlabel viali s 703 -17 737 17 1 VNB
port 4 nsew ground bidirectional
rlabel viali s 607 1611 641 1645 1 VNB
port 4 nsew ground bidirectional
rlabel viali s 607 -17 641 17 1 VNB
port 4 nsew ground bidirectional
rlabel viali s 511 1611 545 1645 1 VNB
port 4 nsew ground bidirectional
rlabel viali s 511 -17 545 17 1 VNB
port 4 nsew ground bidirectional
rlabel viali s 415 1611 449 1645 1 VNB
port 4 nsew ground bidirectional
rlabel viali s 415 -17 449 17 1 VNB
port 4 nsew ground bidirectional
rlabel viali s 319 1611 353 1645 1 VNB
port 4 nsew ground bidirectional
rlabel viali s 319 -17 353 17 1 VNB
port 4 nsew ground bidirectional
rlabel viali s 223 1611 257 1645 1 VNB
port 4 nsew ground bidirectional
rlabel viali s 223 -17 257 17 1 VNB
port 4 nsew ground bidirectional
rlabel viali s 127 1611 161 1645 1 VNB
port 4 nsew ground bidirectional
rlabel viali s 127 -17 161 17 1 VNB
port 4 nsew ground bidirectional
rlabel viali s 31 1611 65 1645 1 VNB
port 4 nsew ground bidirectional
rlabel viali s 31 -17 65 17 1 VNB
port 4 nsew ground bidirectional
rlabel metal1 s 0 -23 2112 23 1 VNB
port 4 nsew ground bidirectional
rlabel metal1 s 0 1605 2112 1651 1 VNB
port 4 nsew ground bidirectional
rlabel locali s 1743 797 2112 831 1 VPB
port 5 nsew power bidirectional
rlabel viali s 2047 797 2081 831 1 VPB
port 5 nsew power bidirectional
rlabel viali s 1951 797 1985 831 1 VPB
port 5 nsew power bidirectional
rlabel viali s 1855 797 1889 831 1 VPB
port 5 nsew power bidirectional
rlabel viali s 1759 797 1793 831 1 VPB
port 5 nsew power bidirectional
rlabel viali s 31 797 65 831 1 VPB
port 5 nsew power bidirectional
rlabel metal1 s 0 791 2112 837 1 VPB
port 5 nsew power bidirectional
rlabel locali s 1788 559 1906 741 1 VPWR
port 6 nsew power bidirectional
rlabel viali s 1920 899 1954 933 1 VPWR
port 6 nsew power bidirectional
rlabel viali s 1866 695 1900 729 1 VPWR
port 6 nsew power bidirectional
rlabel viali s 1848 899 1882 933 1 VPWR
port 6 nsew power bidirectional
rlabel viali s 1794 695 1828 729 1 VPWR
port 6 nsew power bidirectional
rlabel viali s 1776 899 1810 933 1 VPWR
port 6 nsew power bidirectional
rlabel metal1 s 0 689 2112 763 1 VPWR
port 6 nsew power bidirectional
rlabel metal1 s 0 865 2112 939 1 VPWR
port 6 nsew power bidirectional
<< properties >>
string FIXED_BBOX 0 0 2112 1628
string GDS_END 167916
string GDS_FILE $PDKPATH/libs.ref/sky130_fd_sc_hvl/gds/sky130_fd_sc_hvl.gds
string GDS_START 146448
string LEFclass CORE
string LEFsite unithvdbl
string LEFsymmetry X Y
<< end >>
